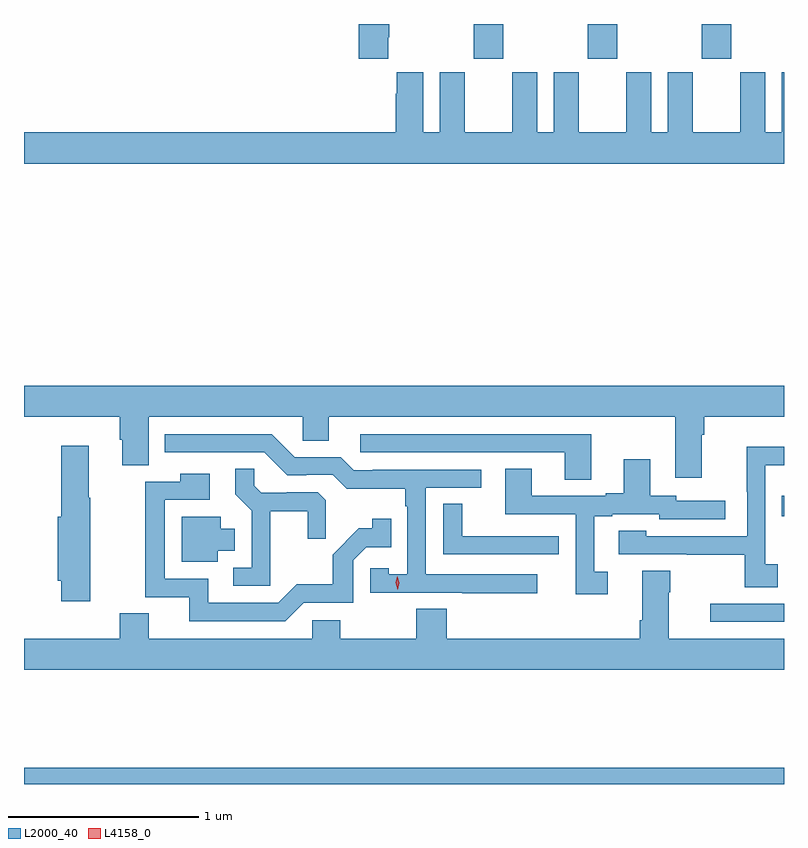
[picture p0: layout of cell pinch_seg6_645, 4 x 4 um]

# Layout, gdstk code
import gdstk
lib = gdstk.Library(unit=1e-6, precision=1e-09)
def R(c, l, rs):  # rectangles x0, y0, x1, y1
    for r in rs: c.add(gdstk.rectangle(r[:2], r[2:], *l))
def A(c, l, x, y, w, h, nx, ny, dx, dy):  # array of equal rectangles
    R(c, l, [(x+i*dx, y+j*dy, x+i*dx+w, y+j*dy+h) for i in range(nx) for j in range(ny)])
def P(c, l, *ps):  # polygons
    for p in ps: c.add(gdstk.Polygon(p, *l))
L2000_40 = (2000, 40)
L4158_0 = (4158, 0)

pinch_seg6_645 = lib.new_cell('pinch_seg6_645')
A(pinch_seg6_645, L2000_40, 389.077, 931.905, 0.155, 0.182, 3, 1, 0.6, 0)
R(pinch_seg6_645, L2000_40, [(386.71,928.087,390.71,928.172), (390.321,928.941,390.71,929.037), (390.697,929.496,390.71,929.605)])
P(pinch_seg6_645, L2000_40, [(388.627,932.017),(388.632,932.017),(388.632,932.087),(388.472,932.087),(388.472,931.905),(388.627,931.905)],
  [(390.71,931.834),(390.698,931.834),(390.698,931.516),(390.61,931.516),(390.61,931.834),(390.479,931.834),(390.479,931.516),(390.229,931.516),(390.229,931.834),(390.098,931.834),(390.098,931.516),(390.01,931.516),(390.01,931.834),(389.879,931.834),(389.879,931.516),(389.629,931.516),(389.629,931.834),(389.498,931.834),(389.498,931.516),(389.41,931.516),(389.41,931.834),(389.279,931.834),(389.279,931.516),(389.029,931.516),(389.029,931.834),(388.898,931.834),(388.898,931.516),(388.81,931.516),(388.81,931.834),(388.673,931.834),(388.673,931.721),(388.667,931.721),(388.667,931.516),(386.71,931.516),(386.71,931.352),(390.71,931.352)],
  [(390.277,929.924),(390.29,929.924),(390.29,930.02),(390.71,930.02),(390.71,930.184),(386.71,930.184),(386.71,930.02),(387.215,930.02),(387.215,929.898),(387.227,929.898),(387.227,929.764),(387.367,929.764),(387.367,930.02),(388.176,930.02),(388.176,929.893),(388.315,929.893),(388.315,930.02),(390.137,930.02),(390.137,929.7),(390.277,929.7)],
  [(389.41,929.19),(388.824,929.19),(388.824,929.646),(389.116,929.646),(389.116,929.742),(388.546,929.742),(388.546,929.739),(388.446,929.739),(388.377,929.808),(388.134,929.808),(388.014,929.928),(387.452,929.928),(387.452,929.832),(387.975,929.832),(388.095,929.712),(388.196,929.712),(388.196,929.715),(388.335,929.715),(388.408,929.642),(388.716,929.642),(388.716,929.549),(388.728,929.549),(388.728,929.191),(388.629,929.191),(388.629,929.223),(388.533,929.223),(388.533,929.094),(389.017,929.094),(389.017,929.092),(389.41,929.092)],
  [(389.695,929.928),(388.479,929.928),(388.479,929.832),(389.555,929.832),(389.555,929.689),(389.695,929.689)],
  [(387.058,929.593),(387.052,929.593),(387.052,929.866),(386.906,929.866),(386.906,929.493),(386.888,929.493),(386.888,929.157),(386.906,929.157),(386.906,929.048),(387.058,929.048)],
  [(390.676,929.244),(390.612,929.244),(390.612,929.765),(390.71,929.765),(390.71,929.863),(390.514,929.863),(390.514,929.624),(390.516,929.624),(390.516,929.391),(389.985,929.391),(389.985,929.419),(389.841,929.419),(389.841,929.295),(390.199,929.295),(390.199,929.293),(390.504,929.293),(390.504,929.122),(390.676,929.122)],
  [(389.782,929.205),(389.71,929.205),(389.71,929.496),(389.806,929.496),(389.806,929.508),(390.054,929.508),(390.054,929.481),(390.4,929.481),(390.4,929.577),(390.144,929.577),(390.144,929.604),(390.007,929.604),(390.007,929.797),(389.867,929.797),(389.867,929.617),(389.771,929.617),(389.771,929.604),(389.383,929.604),(389.383,929.747),(389.243,929.747),(389.243,929.508),(389.613,929.508),(389.613,929.085),(389.782,929.085)],
  [(388.007,929.522),(388.204,929.522),(388.204,929.379),(388.298,929.379),(388.298,929.581),(388.257,929.622),(388.092,929.622),(388.092,929.619),(387.958,929.619),(387.921,929.656),(387.921,929.747),(387.823,929.747),(387.823,929.611),(387.909,929.525),(387.909,929.226),(387.81,929.226),(387.81,929.13),(388.007,929.13)],
  [(388.182,929.04),(388.443,929.04),(388.443,929.265),(388.512,929.334),(388.643,929.334),(388.643,929.482),(388.542,929.482),(388.542,929.432),(388.472,929.432),(388.335,929.294),(388.335,929.139),(388.146,929.139),(388.047,929.04),(387.679,929.04),(387.679,929.166),(387.45,929.166),(387.45,929.583),(387.688,929.583),(387.688,929.719),(387.532,929.719),(387.532,929.679),(387.349,929.679),(387.349,929.07),(387.581,929.07),(387.581,928.944),(388.086,928.944)],
  [(389.524,929.39),(389.411,929.39),(389.411,929.391),(389.016,929.391),(389.016,929.561),(388.917,929.561),(388.917,929.295),(389.524,929.295)],
  [(387.73,929.315),(387.82,929.315),(387.82,929.431),(387.745,929.431),(387.745,929.494),(387.539,929.494),(387.539,929.258),(387.73,929.258)],
  [(390.71,928.852),(390.103,928.852),(390.103,929.096),(390.111,929.096),(390.111,929.209),(389.963,929.209),(389.963,928.948),(389.951,928.948),(389.951,928.852),(388.934,928.852),(388.934,929.009),(388.774,929.009),(388.774,928.852),(388.374,928.852),(388.374,928.95),(388.227,928.95),(388.227,928.852),(387.367,928.852),(387.367,928.985),(387.215,928.985),(387.215,928.852),(386.71,928.852),(386.71,928.688),(390.71,928.688)])
P(pinch_seg6_645, L4158_0, [(388.677,929.109),(388.677,929.109),(388.666,929.145),(388.675,929.181),(388.675,929.181),(388.675,929.181),(388.686,929.146),(388.677,929.109)])

lib.write_gds('pinch_seg6_645.gds')
